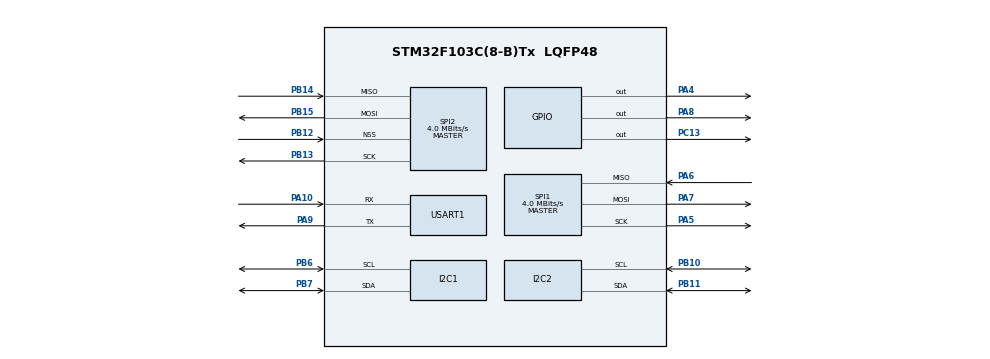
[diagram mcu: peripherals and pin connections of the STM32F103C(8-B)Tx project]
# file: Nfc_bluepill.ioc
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Mcu.Family=STM32F1
Mcu.Name=STM32F103C(8-B)Tx
Mcu.Package=LQFP48
NVIC.PriorityGroup=NVIC_PRIORITYGROUP_4
PA10.Mode=Asynchronous
PA10.Signal=USART1_RX
PA13.Mode=Serial_Wire
PA13.Signal=SYS_JTMS-SWDIO
PA14.Mode=Serial_Wire
PA14.Signal=SYS_JTCK-SWCLK
PA4.Signal=GPIO_Output
PA5.Mode=Full_Duplex_Master
PA5.Signal=SPI1_SCK
PA6.Mode=Full_Duplex_Master
PA6.Signal=SPI1_MISO
PA7.Mode=Full_Duplex_Master
PA7.Signal=SPI1_MOSI
PA8.Signal=GPIO_Output
PA9.Mode=Asynchronous
PA9.Signal=USART1_TX
PB10.Mode=I2C
PB10.Signal=I2C2_SCL
PB11.Mode=I2C
PB11.Signal=I2C2_SDA
PB12.Mode=NSS_Signal_Hard_Input
PB12.Signal=SPI2_NSS
PB13.Mode=Full_Duplex_Master
PB13.Signal=SPI2_SCK
PB14.Mode=Full_Duplex_Master
PB14.Signal=SPI2_MISO
PB15.Mode=Full_Duplex_Master
PB15.Signal=SPI2_MOSI
PB6.Mode=I2C
PB6.Signal=I2C1_SCL
PB7.Mode=I2C
PB7.Signal=I2C1_SDA
PC13-TAMPER-RTC.Signal=GPIO_Output
PC14-OSC32_IN.Signal=RCC_OSC32_IN
PC15-OSC32_OUT.Signal=RCC_OSC32_OUT
PD0-OSC_IN.Mode=HSE-External-Oscillator
PD0-OSC_IN.Signal=RCC_OSC_IN
PD1-OSC_OUT.Mode=HSE-External-Oscillator
PD1-OSC_OUT.Signal=RCC_OSC_OUT
ProjectManager.HeapSize=0x200
ProjectManager.StackSize=0x400
ProjectManager.TargetToolchain=STM32CubeIDE
RCC.APB1Freq_Value=8000000
RCC.APB2Freq_Value=8000000
SPI1.CalculateBaudRate=4.0 MBits/s
SPI1.Direction=SPI_DIRECTION_2LINES
SPI1.Mode=SPI_MODE_MASTER
SPI1.VirtualType=VM_MASTER
SPI2.CalculateBaudRate=4.0 MBits/s
SPI2.Direction=SPI_DIRECTION_2LINES
SPI2.Mode=SPI_MODE_MASTER
SPI2.VirtualNSS=VM_NSSHARD
SPI2.VirtualType=VM_MASTER
USART1.VirtualMode=VM_ASYNC
board=custom

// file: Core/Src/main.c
/* USER CODE BEGIN Header */
/**
  ******************************************************************************
  * @file           : main.c
  * @brief          : Main program body
  ******************************************************************************
  * @attention
  *
  * Copyright (c) 2025 STMicroelectronics.
  * All rights reserved.
  *
  * This software is licensed under terms that can be found in the LICENSE file
  * in the root directory of this software component.
  * If no LICENSE file comes with this software, it is provided AS-IS.
  *
  ******************************************************************************
  *
  * Hardware Connections (STM32F103C8T6 Blue Pill):
  * ================================================
  * PN532 Module -> STM32 Blue Pill
  * VCC  -> 3.3V
  * GND  -> GND
  * SCK  -> PA5 (SPI1_SCK)
  * MISO -> PA6 (SPI1_MISO)
  * MOSI -> PA7 (SPI1_MOSI)
  * NSS  -> PA4 (GPIO Output, Software CS)
  *
  * Serial Debug:
  * TX -> PA9 (USART1_TX)
  * RX -> PA10 (USART1_RX)
  * Baudrate: 115200
  *
  * PN532 Module Setup:
  * Set I0I1 jumpers: I0=LOW, I1=HIGH (SPI Mode)
  *
  ******************************************************************************
  */
/* USER CODE END Header */
#include "main.h"

/* USER CODE BEGIN Includes */
#include "stdio.h"
#include "string.h"
#include "pn532.h"
#include "pn532_stm32f1.h"
/* USER CODE END Includes */

I2C_HandleTypeDef hi2c1;
I2C_HandleTypeDef hi2c2;

SPI_HandleTypeDef hspi1;
SPI_HandleTypeDef hspi2;

UART_HandleTypeDef huart1;

/* USER CODE BEGIN PV */
PN532 pn532;
char uart_buffer[200];
uint8_t nfc_uid[10];
uint8_t nfc_uid_length = 0;
/* USER CODE END PV */

void SystemClock_Config(void);
static void MX_GPIO_Init(void);
static void MX_I2C1_Init(void);
static void MX_I2C2_Init(void);
static void MX_SPI1_Init(void);
static void MX_SPI2_Init(void);
static void MX_USART1_UART_Init(void);

/* USER CODE BEGIN PFP */
/* Diagnostic Functions */
void Test_SPI_Connection(void);
void Test_PN532_Wakeup(void);
void Test_Raw_SPI_Communication(void);
/* USER CODE END PFP */

int main(void)
{

  /* MCU Configuration--------------------------------------------------------*/

  /* Reset of all peripherals, Initializes the Flash interface and the Systick. */
  HAL_Init();

  /* Configure the system clock */
  SystemClock_Config();

  /* Initialize all configured peripherals */
  MX_GPIO_Init();
  MX_I2C1_Init();
  MX_I2C2_Init();
  MX_SPI1_Init();
  MX_SPI2_Init();
  MX_USART1_UART_Init();
  /* USER CODE BEGIN 2 */
  // Send startup message
  sprintf(uart_buffer, "\r\n=== STM32 Blue Pill + PN532 NFC Reader ===\r\n");
  HAL_UART_Transmit(&huart1, (uint8_t*)uart_buffer, strlen(uart_buffer), 1000);

  sprintf(uart_buffer, "Initializing PN532...\r\n");
  HAL_UART_Transmit(&huart1, (uint8_t*)uart_buffer, strlen(uart_buffer), 1000);

  // Step 1: Test basic SPI
  sprintf(uart_buffer, "Step 1: Testing SPI connection...\r\n");
  HAL_UART_Transmit(&huart1, (uint8_t*)uart_buffer, strlen(uart_buffer), 1000);
  Test_SPI_Connection();

  HAL_Delay(1000);

  // Step 2: Test raw SPI communication
  sprintf(uart_buffer, "Step 2: Testing raw SPI communication...\r\n");
  HAL_UART_Transmit(&huart1, (uint8_t*)uart_buffer, strlen(uart_buffer), 1000);
  Test_Raw_SPI_Communication();

  HAL_Delay(1000);

  // Step 3: Test PN532 wakeup
  sprintf(uart_buffer, "Step 3: Testing PN532 wakeup sequence...\r\n");
  HAL_UART_Transmit(&huart1, (uint8_t*)uart_buffer, strlen(uart_buffer), 1000);
  Test_PN532_Wakeup();

  HAL_Delay(1000);

  // Initialize PN532
  PN532_Init(&pn532);

  HAL_Delay(1000);

  // Get firmware version
  uint8_t version[4];
  if (PN532_GetFirmwareVersion(&pn532, version) == PN532_STATUS_OK) {
    sprintf(uart_buffer, "PN532 Firmware Version: %d.%d\r\n", version[1], version[2]);
    HAL_UART_Transmit(&huart1, (uint8_t*)uart_buffer, strlen(uart_buffer), 1000);
    sprintf(uart_buffer, "IC: PN5%02X, Support: 0x%02X\r\n", version[0], version[3]);
    HAL_UART_Transmit(&huart1, (uint8_t*)uart_buffer, strlen(uart_buffer), 1000);
  } else {
    sprintf(uart_buffer, "ERROR: Failed to get firmware version!\r\n");
    HAL_UART_Transmit(&huart1, (uint8_t*)uart_buffer, strlen(uart_buffer), 1000);
    sprintf(uart_buffer, "Check connections and PN532 module!\r\n");
    HAL_UART_Transmit(&huart1, (uint8_t*)uart_buffer, strlen(uart_buffer), 1000);
    // You might want to continue anyway for debugging
    // while(1); // Uncomment to stop on error
  }

  // Configure SAM
  if (PN532_SamConfiguration(&pn532) == PN532_STATUS_OK) {
    sprintf(uart_buffer, "SAM configuration successful!\r\n");
    HAL_UART_Transmit(&huart1, (uint8_t*)uart_buffer, strlen(uart_buffer), 1000);
  } else {
    sprintf(uart_buffer, "Warning: SAM configuration failed!\r\n");
    HAL_UART_Transmit(&huart1, (uint8_t*)uart_buffer, strlen(uart_buffer), 1000);
  }

  sprintf(uart_buffer, "\r\nReady! Place an NFC card near the reader...\r\n");
  HAL_UART_Transmit(&huart1, (uint8_t*)uart_buffer, strlen(uart_buffer), 1000);
  sprintf(uart_buffer, "==========================================\r\n");
  HAL_UART_Transmit(&huart1, (uint8_t*)uart_buffer, strlen(uart_buffer), 1000);

  /* USER CODE END 2 */

  /* Infinite loop */
  /* USER CODE BEGIN WHILE */
  while (1)
  {
    /* Turn on the LED (active low, so set PC13 to RESET) */
    HAL_GPIO_WritePin(GPIOC, GPIO_PIN_13, GPIO_PIN_RESET);

    /* USER CODE END WHILE */

    /* USER CODE BEGIN 3 */
    uint8_t uid[10]; // Buffer for UID (max 10 bytes for triple size UID)

    // Try to read a card
    int uid_length = PN532_ReadPassiveTarget(&pn532, uid, PN532_MIFARE_ISO14443A, 1000);

    if (uid_length > 0) {
      // Card found!
      sprintf(uart_buffer, "*** NFC CARD DETECTED! ***\r\n");
      HAL_UART_Transmit(&huart1, (uint8_t*)uart_buffer, strlen(uart_buffer), 1000);

      sprintf(uart_buffer, "UID Length: %d bytes\r\n", uid_length);
      HAL_UART_Transmit(&huart1, (uint8_t*)uart_buffer, strlen(uart_buffer), 1000);

      sprintf(uart_buffer, "UID (Hex): ");
      HAL_UART_Transmit(&huart1, (uint8_t*)uart_buffer, strlen(uart_buffer), 1000);

      // Print UID in hexadecimal
      for (int i = 0; i < uid_length; i++) {
        sprintf(uart_buffer, "%02X", uid[i]);
        HAL_UART_Transmit(&huart1, (uint8_t*)uart_buffer, strlen(uart_buffer), 1000);
        if (i < uid_length - 1) {
          sprintf(uart_buffer, " ");
          HAL_UART_Transmit(&huart1, (uint8_t*)uart_buffer, strlen(uart_buffer), 1000);
        }
      }
      sprintf(uart_buffer, "\r\n");
      HAL_UART_Transmit(&huart1, (uint8_t*)uart_buffer, strlen(uart_buffer), 1000);

      // Print UID in decimal
      sprintf(uart_buffer, "UID (Dec): ");
      HAL_UART_Transmit(&huart1, (uint8_t*)uart_buffer, strlen(uart_buffer), 1000);

      for (int i = 0; i < uid_length; i++) {
        sprintf(uart_buffer, "%d", uid[i]);
        HAL_UART_Transmit(&huart1, (uint8_t*)uart_buffer, strlen(uart_buffer), 1000);
        if (i < uid_length - 1) {
          sprintf(uart_buffer, " ");
          HAL_UART_Transmit(&huart1, (uint8_t*)uart_buffer, strlen(uart_buffer), 1000);
        }
      }
      sprintf(uart_buffer, "\r\n");
      HAL_UART_Transmit(&huart1, (uint8_t*)uart_buffer, strlen(uart_buffer), 1000);

      // Calculate and display UID as a single number (for shorter UIDs)
      if (uid_length <= 4) {
        uint32_t uid_number = 0;
        for (int i = 0; i < uid_length; i++) {
          uid_number = (uid_number << 8) | uid[i];
        }
        sprintf(uart_buffer, "UID (Number): %lu\r\n", uid_number);
        HAL_UART_Transmit(&huart1, (uint8_t*)uart_buffer, strlen(uart_buffer), 1000);
      }

      sprintf(uart_buffer, "==========================================\r\n");
      HAL_UART_Transmit(&huart1, (uint8_t*)uart_buffer, strlen(uart_buffer), 1000);

      // Wait before next read to avoid spamming
      HAL_Delay(2000);

      sprintf(uart_buffer, "Remove card and place another one...\r\n");
      HAL_UART_Transmit(&huart1, (uint8_t*)uart_buffer, strlen(uart_buffer), 1000);

    } else {
      // No card found or error
      // Only print error message occasionally to avoid spam
      static uint32_t last_no_card_message = 0;
      if (HAL_GetTick() - last_no_card_message > 5000) { // Every 5 seconds
        sprintf(uart_buffer, "Scanning for NFC cards...\r\n");
        HAL_UART_Transmit(&huart1, (uint8_t*)uart_buffer, strlen(uart_buffer), 1000);
        last_no_card_message = HAL_GetTick();
      }
    }

    // Small delay between scans
    HAL_Delay(500);
  }
  /* USER CODE END 3 */
}

/* USER CODE BEGIN 4 */
/* Diagnostic Functions */

void Test_SPI_Connection(void) {
  // Test basic SPI functionality
  uint8_t test_data = 0xAA;
  uint8_t received_data = 0x00;

  sprintf(uart_buffer, "  - CS pin test (PA4)...\r\n");
  HAL_UART_Transmit(&huart1, (uint8_t*)uart_buffer, strlen(uart_buffer), 1000);

  HAL_GPIO_WritePin(GPIOA, GPIO_PIN_4, GPIO_PIN_RESET);
  HAL_Delay(10);
  HAL_GPIO_WritePin(GPIOA, GPIO_PIN_4, GPIO_PIN_SET);

  sprintf(uart_buffer, "  - SPI loopback test...\r\n");
  HAL_UART_Transmit(&huart1, (uint8_t*)uart_buffer, strlen(uart_buffer), 1000);

  HAL_GPIO_WritePin(GPIOA, GPIO_PIN_4, GPIO_PIN_RESET);
  HAL_SPI_TransmitReceive(&hspi1, &test_data, &received_data, 1, 1000);
  HAL_GPIO_WritePin(GPIOA, GPIO_PIN_4, GPIO_PIN_SET);

  sprintf(uart_buffer, "  - Sent: 0x%02X, Received: 0x%02X\r\n", test_data, received_data);
  HAL_UART_Transmit(&huart1, (uint8_t*)uart_buffer, strlen(uart_buffer), 1000);
}

void Test_Raw_SPI_Communication(void) {
  // Test raw PN532 SPI commands
  uint8_t status_cmd[2] = {0x02, 0x00}; // Status read command

  sprintf(uart_buffer, "  - Sending status read command...\r\n");
  HAL_UART_Transmit(&huart1, (uint8_t*)uart_buffer, strlen(uart_buffer), 1000);

  HAL_GPIO_WritePin(GPIOA, GPIO_PIN_4, GPIO_PIN_RESET);
  HAL_Delay(1);
  HAL_SPI_TransmitReceive(&hspi1, status_cmd, status_cmd, 2, 1000);
  HAL_Delay(1);
  HAL_GPIO_WritePin(GPIOA, GPIO_PIN_4, GPIO_PIN_SET);

  sprintf(uart_buffer, "  - Status response: 0x%02X 0x%02X\r\n", status_cmd[0], status_cmd[1]);
  HAL_UART_Transmit(&huart1, (uint8_t*)uart_buffer, strlen(uart_buffer), 1000);

  if (status_cmd[1] == 0x01) {
    sprintf(uart_buffer, "  - PN532 appears to be ready!\r\n");
  } else {
    sprintf(uart_buffer, "  - PN532 not ready or not connected\r\n");
  }
  HAL_UART_Transmit(&huart1, (uint8_t*)uart_buffer, strlen(uart_buffer), 1000);
}

void Test_PN532_Wakeup(void) {
  sprintf(uart_buffer, "  - Enhanced wakeup sequence...\r\n");
  HAL_UART_Transmit(&huart1, (uint8_t*)uart_buffer, strlen(uart_buffer), 1000);

  // Step 1: Long reset pulse
  HAL_GPIO_WritePin(GPIOA, GPIO_PIN_4, GPIO_PIN_RESET);
  HAL_Delay(100);  // Hold CS low longer
  HAL_GPIO_WritePin(GPIOA, GPIO_PIN_4, GPIO_PIN_SET);
  HAL_Delay(100);  // Wait for stabilization

  // Step 2: Send proper wakeup command
  uint8_t wakeup_data = 0x55;  // PN532 wakeup command

  HAL_GPIO_WritePin(GPIOA, GPIO_PIN_4, GPIO_PIN_RESET);
  HAL_Delay(10);  // Longer setup time
  HAL_SPI_Transmit(&hspi1, &wakeup_data, 1, 1000);
  HAL_Delay(10);  // Longer hold time
  HAL_GPIO_WritePin(GPIOA, GPIO_PIN_4, GPIO_PIN_SET);

  HAL_Delay(1000);  // Wait much longer for PN532 to wake up

  // Step 3: Multiple status checks
  for (int attempt = 1; attempt <= 5; attempt++) {
    uint8_t status_cmd[2] = {0x02, 0x00};

    HAL_GPIO_WritePin(GPIOA, GPIO_PIN_4, GPIO_PIN_RESET);
    HAL_Delay(5);  // Longer setup
    HAL_SPI_TransmitReceive(&hspi1, status_cmd, status_cmd, 2, 1000);
    HAL_Delay(5);  // Longer hold
    HAL_GPIO_WritePin(GPIOA, GPIO_PIN_4, GPIO_PIN_SET);

    sprintf(uart_buffer, "  - Attempt %d - Status: 0x%02X 0x%02X\r\n", attempt, status_cmd[0], status_cmd[1]);
    HAL_UART_Transmit(&huart1, (uint8_t*)uart_buffer, strlen(uart_buffer), 1000);

    if (status_cmd[1] == 0x01) {
      sprintf(uart_buffer, "  - PN532 is READY!\r\n");
      HAL_UART_Transmit(&huart1, (uint8_t*)uart_buffer, strlen(uart_buffer), 1000);
      return;
    }

    HAL_Delay(200);  // Wait between attempts
  }

  sprintf(uart_buffer, "  - PN532 did not become ready after 5 attempts\r\n");
  HAL_UART_Transmit(&huart1, (uint8_t*)uart_buffer, strlen(uart_buffer), 1000);
}
/* USER CODE END 4 */

void SystemClock_Config(void)
{
  RCC_OscInitTypeDef RCC_OscInitStruct = {0};
  RCC_ClkInitTypeDef RCC_ClkInitStruct = {0};

  /** Initializes the RCC Oscillators according to the specified parameters
  * in the RCC_OscInitTypeDef structure.
  */
  RCC_OscInitStruct.OscillatorType = RCC_OSCILLATORTYPE_HSI;
  RCC_OscInitStruct.HSIState = RCC_HSI_ON;
  RCC_OscInitStruct.HSICalibrationValue = RCC_HSICALIBRATION_DEFAULT;
  RCC_OscInitStruct.PLL.PLLState = RCC_PLL_NONE;
  if (HAL_RCC_OscConfig(&RCC_OscInitStruct) != HAL_OK)
  {
    Error_Handler();
  }

  /** Initializes the CPU, AHB and APB buses clocks
  */
  RCC_ClkInitStruct.ClockType = RCC_CLOCKTYPE_HCLK|RCC_CLOCKTYPE_SYSCLK
                              |RCC_CLOCKTYPE_PCLK1|RCC_CLOCKTYPE_PCLK2;
  RCC_ClkInitStruct.SYSCLKSource = RCC_SYSCLKSOURCE_HSI;
  RCC_ClkInitStruct.AHBCLKDivider = RCC_SYSCLK_DIV1;
  RCC_ClkInitStruct.APB1CLKDivider = RCC_HCLK_DIV1;
  RCC_ClkInitStruct.APB2CLKDivider = RCC_HCLK_DIV1;

  if (HAL_RCC_ClockConfig(&RCC_ClkInitStruct, FLASH_LATENCY_0) != HAL_OK)
  {
    Error_Handler();
  }
}

static void MX_I2C1_Init(void)
{

  hi2c1.Instance = I2C1;
  hi2c1.Init.ClockSpeed = 100000;
  hi2c1.Init.DutyCycle = I2C_DUTYCYCLE_2;
  hi2c1.Init.OwnAddress1 = 0;
  hi2c1.Init.AddressingMode = I2C_ADDRESSINGMODE_7BIT;
  hi2c1.Init.DualAddressMode = I2C_DUALADDRESS_DISABLE;
  hi2c1.Init.OwnAddress2 = 0;
  hi2c1.Init.GeneralCallMode = I2C_GENERALCALL_DISABLE;
  hi2c1.Init.NoStretchMode = I2C_NOSTRETCH_DISABLE;
  if (HAL_I2C_Init(&hi2c1) != HAL_OK)
  {
    Error_Handler();
  }

}

static void MX_I2C2_Init(void)
{

  hi2c2.Instance = I2C2;
  hi2c2.Init.ClockSpeed = 100000;
  hi2c2.Init.DutyCycle = I2C_DUTYCYCLE_2;
  hi2c2.Init.OwnAddress1 = 0;
  hi2c2.Init.AddressingMode = I2C_ADDRESSINGMODE_7BIT;
  hi2c2.Init.DualAddressMode = I2C_DUALADDRESS_DISABLE;
  hi2c2.Init.OwnAddress2 = 0;
  hi2c2.Init.GeneralCallMode = I2C_GENERALCALL_DISABLE;
  hi2c2.Init.NoStretchMode = I2C_NOSTRETCH_DISABLE;
  if (HAL_I2C_Init(&hi2c2) != HAL_OK)
  {
    Error_Handler();
  }

}

static void MX_SPI1_Init(void)
{

  /* SPI1 parameter configuration*/
  hspi1.Instance = SPI1;
  hspi1.Init.Mode = SPI_MODE_MASTER;
  hspi1.Init.Direction = SPI_DIRECTION_2LINES;
  hspi1.Init.DataSize = SPI_DATASIZE_8BIT;
  hspi1.Init.CLKPolarity = SPI_POLARITY_LOW;
  hspi1.Init.CLKPhase = SPI_PHASE_1EDGE;
  hspi1.Init.NSS = SPI_NSS_SOFT;
  hspi1.Init.BaudRatePrescaler = SPI_BAUDRATEPRESCALER_128;
  hspi1.Init.FirstBit = SPI_FIRSTBIT_MSB;
  hspi1.Init.TIMode = SPI_TIMODE_DISABLE;
  hspi1.Init.CRCCalculation = SPI_CRCCALCULATION_DISABLE;
  hspi1.Init.CRCPolynomial = 10;
  if (HAL_SPI_Init(&hspi1) != HAL_OK)
  {
    Error_Handler();
  }

}

static void MX_SPI2_Init(void)
{

  /* SPI2 parameter configuration*/
  hspi2.Instance = SPI2;
  hspi2.Init.Mode = SPI_MODE_MASTER;
  hspi2.Init.Direction = SPI_DIRECTION_2LINES;
  hspi2.Init.DataSize = SPI_DATASIZE_8BIT;
  hspi2.Init.CLKPolarity = SPI_POLARITY_LOW;
  hspi2.Init.CLKPhase = SPI_PHASE_1EDGE;
  hspi2.Init.NSS = SPI_NSS_HARD_INPUT;
  hspi2.Init.BaudRatePrescaler = SPI_BAUDRATEPRESCALER_2;
  hspi2.Init.FirstBit = SPI_FIRSTBIT_MSB;
  hspi2.Init.TIMode = SPI_TIMODE_DISABLE;
  hspi2.Init.CRCCalculation = SPI_CRCCALCULATION_DISABLE;
  hspi2.Init.CRCPolynomial = 10;
  if (HAL_SPI_Init(&hspi2) != HAL_OK)
  {
    Error_Handler();
  }

}

static void MX_USART1_UART_Init(void)
{

  huart1.Instance = USART1;
  huart1.Init.BaudRate = 115200;
  huart1.Init.WordLength = UART_WORDLENGTH_8B;
  huart1.Init.StopBits = UART_STOPBITS_1;
  huart1.Init.Parity = UART_PARITY_NONE;
  huart1.Init.Mode = UART_MODE_TX_RX;
  huart1.Init.HwFlowCtl = UART_HWCONTROL_NONE;
  huart1.Init.OverSampling = UART_OVERSAMPLING_16;
  if (HAL_UART_Init(&huart1) != HAL_OK)
  {
    Error_Handler();
  }

}

static void MX_GPIO_Init(void)
{
  GPIO_InitTypeDef GPIO_InitStruct = {0};

  /* GPIO Ports Clock Enable */
  __HAL_RCC_GPIOC_CLK_ENABLE();
  __HAL_RCC_GPIOD_CLK_ENABLE();
  __HAL_RCC_GPIOA_CLK_ENABLE();
  __HAL_RCC_GPIOB_CLK_ENABLE();

  /*Configure GPIO pin Output Level */
  HAL_GPIO_WritePin(GPIOC, GPIO_PIN_13, GPIO_PIN_RESET);

  /*Configure GPIO pin Output Level */
  HAL_GPIO_WritePin(GPIOA, GPIO_PIN_4|GPIO_PIN_8, GPIO_PIN_RESET);

  /*Configure GPIO pin : PC13 */
  GPIO_InitStruct.Pin = GPIO_PIN_13;
  GPIO_InitStruct.Mode = GPIO_MODE_OUTPUT_PP;
  GPIO_InitStruct.Pull = GPIO_NOPULL;
  GPIO_InitStruct.Speed = GPIO_SPEED_FREQ_LOW;
  HAL_GPIO_Init(GPIOC, &GPIO_InitStruct);

  /*Configure GPIO pins : PA4 PA8 */
  GPIO_InitStruct.Pin = GPIO_PIN_4|GPIO_PIN_8;
  GPIO_InitStruct.Mode = GPIO_MODE_OUTPUT_PP;
  GPIO_InitStruct.Pull = GPIO_NOPULL;
  GPIO_InitStruct.Speed = GPIO_SPEED_FREQ_LOW;
  HAL_GPIO_Init(GPIOA, &GPIO_InitStruct);

}

void Error_Handler(void)
{
  __disable_irq();
  while (1)
  {
  }
}
